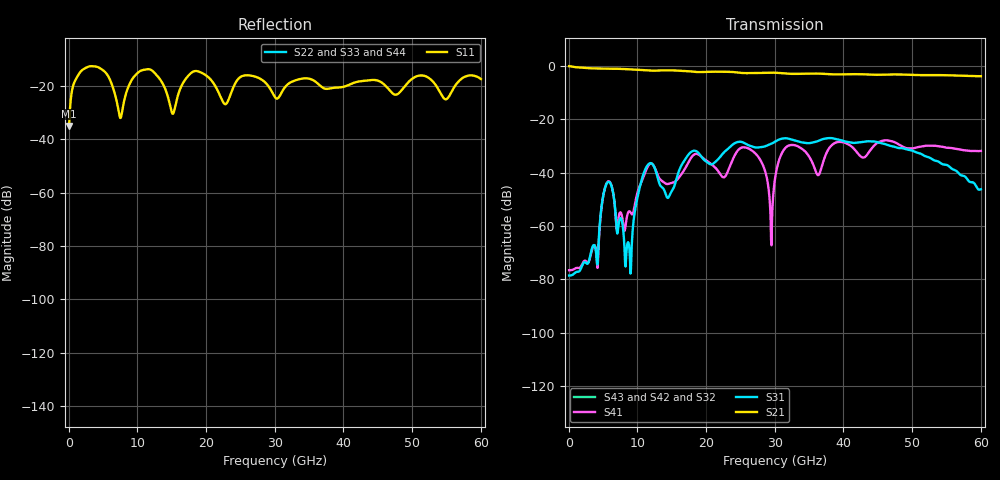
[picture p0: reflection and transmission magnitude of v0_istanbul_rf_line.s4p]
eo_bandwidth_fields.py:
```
"""EO response of line A (driven line) from the gap fields of the Istanbul crosstalk runs (a)-(d), 8.75 mm line.
H_A(f) = (1/L) * integral of the push-pull gap voltage * exp(j beta_o z) dz, beta_o = w n_g / c, n_g = 2.27
(xtalk_fields.eo_crosstalk_fields, I_A: the same integral as the EO crosstalk, on line A). Source and termination are
the CST ports of each run (50 ohm; run b: real far-end termination; run d: driver-trace waveguide port).
Normalisation: |H_A| / mean |H_A| over 3-10.7 GHz (one mismatch-ripple period, c / (2 n_m L) = 7.7 GHz),
and, for reference, / |H_A(1 GHz)|. 1 GHz of run c and 2, 15 GHz of runs a-c are corrupted exports and left out.
Check: run (a) fields vs the closed-form line formula with alpha, n_m, Zc extracted from the run (a) s4p (line A
two-port, 50/50 ohm). Outputs: eo_bandwidth_fields.png, eo_bandwidth_fields.csv, printed table."""
import os, sys
HERE = os.path.dirname(os.path.abspath(__file__)); X = os.path.join(HERE, "..")
sys.path.insert(0, os.path.join(X, "istanbul_run_a")); sys.path.insert(0, os.path.abspath(os.path.join(HERE, "../../../..")))
import numpy as np, skrf as rf, tempfile, matplotlib
matplotlib.use("Agg"); import matplotlib.pyplot as plt
from mzm_interconnect import parameters as P, xtalk_fields as XF
from mzm_interconnect.physics import eo_transfer
from mzm_interconnect.extractor import extract_line_fit
from load_fields import load
p = P.defaults(); p["Rt_R"] = 50.0; p["Zs_R"] = 50.0
LA, BAD = "e-field (f=1) [1]_lineA.zip", (2.0, 15.0)
RUNS = {"a": ("(a) bare line, 50 Ω ports", load(skip_f=BAD)),
        "b": ("(b) real far-end termination", load(base=os.path.join(X, "istanbul_run_b"), a_zip=LA, skip_f=BAD)),
        "c": ("(c) launch pads", load(base=os.path.join(X, "istanbul_run_c"), a_zip=LA, drop="first", skip_f=BAD + (1.0,))),
        "d": ("(d) full module (driver trace, wires, pads)", load(base=os.path.join(X, "istanbul_run_d"), a_zip=LA, drop="first"))}
REF = (3.0, 10.7)
def cross(f, y, lev=-3.0):
    k = np.where(y <= lev)[0]
    if not len(k): return None
    i = k[0]; return f[i - 1] + (lev - y[i - 1]) * (f[i] - f[i - 1]) / (y[i] - y[i - 1])
out = {}
for r, (lab, fd) in RUNS.items():
    o = XF.eo_crosstalk_fields(p, fd); f = o["f_GHz"]; h = abs(o["I_A"])
    ref = np.mean(h[(f >= REF[0]) & (f <= REF[1])]); out[r] = (f, 20 * np.log10(h / ref), 20 * np.log10(h / h[0]) if f[0] == 1 else None)
# check against the S-parameter route (run a)
n = rf.Network(os.path.join(X, "istanbul_run_a", "v0_istanbul_rf_line.s4p")).subnetwork([0, 1])
tmp = os.path.join(tempfile.mkdtemp(), "runa_A"); n.write_touchstone(tmp); fit = extract_line_fit(tmp + ".s2p", 8.75)
f = out["a"][0]; fr = fit.raw_f_GHz
H, _ = eo_transfer(f, np.interp(f, fr, fit.raw_alpha_dB_cm), np.interp(f, fr, fit.raw_nm),
                   np.interp(f, fr, fit.raw_Zc.real) + 1j * np.interp(f, fr, fit.raw_Zc.imag), 8.75e-3, 2.27, 50.0, 50.0)
Hf, _ = eo_transfer(f, fit.alpha_dB_cm(f), fit.nm(f), fit.Zc(f), 8.75e-3, 2.27, 50.0, 50.0)   # fitted (smooth) alpha, n_m, Zc
nd = lambda h: 20 * np.log10(abs(h) / np.mean(abs(h)[(f >= REF[0]) & (f <= REF[1])]))
yR, yM = nd(H), nd(Hf)
for lab, y in (("raw extracted", yR), ("fitted", yM)):
    d = out["a"][1] - y
    print(f"check run (a), fields - line formula ({lab} alpha, n_m, Zc): rms {np.sqrt(np.mean(d**2)):.2f}, max abs {abs(d).max():.2f} dB, "
          f"ripple correlation (1 GHz differences) {np.corrcoef(np.diff(out['a'][1]), np.diff(y))[0, 1]:+.2f}")
print("run | EO response at 20/40/60 GHz (dB, plateau ref) | -3 dB crossing: plateau ref | 1 GHz ref")
for r, (f, y, y1) in out.items():
    v = " ".join(f"{y[np.argmin(abs(f - q))]:+.2f}" for q in (20, 40, 60))
    c1 = cross(f, y1) if y1 is not None else None
    print(f" {r}  | {v} | {cross(f, y) or '> 60'} | {c1 if c1 else ('> 60' if y1 is not None else 'n/a (1 GHz corrupted)')}")
with open(os.path.join(HERE, "eo_bandwidth_fields.csv"), "w") as fh:
    fh.write("f_GHz," + ",".join(f"EO_run_{r}_dB" for r in out) + ",line_formula_run_a_dB\n")
    for i, q in enumerate(out["a"][0]):
        vals = [out[r][1][np.argmin(abs(out[r][0] - q))] if np.min(abs(out[r][0] - q)) < 1e-6 else np.nan for r in out]
        fh.write(f"{q:g}," + ",".join(f"{v:.3f}" for v in vals) + f",{yM[i]:.3f}\n")
C = {"a": "#eb6834", "b": "#2a78d6", "c": "#1baa7d", "d": "#7a4bd1"}
fig, ax = plt.subplots(figsize=(8.5, 4.8))
for r, (f, y, _) in out.items(): ax.plot(f, y, "o-", ms=3, lw=1.3, color=C[r], label=RUNS[r][0])
ax.plot(out["a"][0], yM, "k--", lw=1.2, label="(a) line formula with fitted α, n_m, Z_c from the s4p (check)")
ax.axhline(-3, color="0.4", lw=0.9, ls=":"); ax.set_xlim(0, 60); ax.set_ylim(-4, 1)
ax.set_xlabel("frequency (GHz)"); ax.set_ylabel("EO response, line A (dB)"); ax.grid(alpha=0.3); ax.legend(frameon=False, fontsize=8, loc="lower left")
ax.set_title("Istanbul 8.75 mm, EO response from the CST gap fields (n_g 2.27, push-pull; ref: mean 3–10.7 GHz)", fontsize=9.5)
fig.tight_layout(); fig.savefig(os.path.join(HERE, "eo_bandwidth_fields.png"), dpi=200)

# check figure: only run (a), fields vs line formula
fig, ax = plt.subplots(figsize=(8.5, 4.8))
ax.plot(out["a"][0], out["a"][1], "o-", ms=3.5, lw=1.4, color=C["a"], label="from the CST gap fields")
ax.plot(out["a"][0], yM, "k--", lw=1.6, label="from the touchstone (line formula with fitted α, n_m, Z_c)")
ax.axhline(-3, color="0.4", lw=0.9, ls=":"); ax.set_xlim(0, 60); ax.set_ylim(-4, 1)
ax.set_xlabel("frequency (GHz)"); ax.set_ylabel("EO response, line A (dB)"); ax.grid(alpha=0.3); ax.legend(frameon=False, fontsize=9, loc="lower left")
ax.set_title("Istanbul run (a), 8.75 mm bare line, 50 Ω ports: EO response, fields vs touchstone", fontsize=10)
fig.tight_layout(); fig.savefig(os.path.join(HERE, "eo_check_run_a.png"), dpi=200)
```
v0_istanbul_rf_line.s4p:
! TOUCHSTONE file generated by CST MICROWAVE STUDIO
! Date and time: Thu Nov  5 15:45:10 2026
! Project name: v0_istanbul_rf_line.cst
! Parameters = {LN_THICKNESS=0.000275; SILICON_THICKNESS=0.55}
! Header version: 2024
! Port assignment regex: !\s*Touchstone port\s*([0-9]+)\s*=\s*(CST MWS port|CST DES external port|CST DES block port)\s*(.+)\s* \(\"(.*)\"\)(\s*mode\s*([0-9]+))?.*
! Touchstone port assignment:
! Touchstone port 1 = CST MWS port 1 ("")
! Touchstone port 2 = CST MWS port 2 ("")
! Touchstone port 3 = CST MWS port 3 ("")
! Touchstone port 4 = CST MWS port 4 ("")
# GHz S MA R 50
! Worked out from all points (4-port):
!   1000 points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, 60 MHz to 60 GHz, reference 50 ohm
!   strongest paths, dB at 60 MHz, 15.06 GHz, 30.06 GHz, 45.06 GHz, 60 GHz:
!     S21: -0.1, -1.7, -2.6, -3.4, -3.9
!     S31: -78.5, -46.7, -28.4, -28.7, -46.2
!     S41: -76.5, -43.8, -41.8, -28.6, -31.9
!     S43: -, -, -, -, -
!     S42: -, -, -, -, -
!     S32: -, -, -, -, -
!   lowest |S11| = -35.0 dB at 60 MHz (marker M1), VSWR 1.04, Z = 51.4 + j1.06 ohm
!   |S11| at or under -10 dB: start of sweep to end of sweep
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0.06  0.01769 35.6  0 0.0  0 0.0  0 0.0
      0.9858 -1.8  0 0.0  0 0.0  0 0.0
      0.0001184 158.7  0 0.0  0 0.0  0 0.0
      0.0001491 -20.8  0 0.0  0 0.0  0 0.0
18.18  0.1852 0.8  0 0.0  0 0.0  0 0.0
       0.7761 -71.4  0 0.0  0 0.0  0 0.0
       0.02569 -168.8  0 0.0  0 0.0  0 0.0
       0.02146 2.2  0 0.0  0 0.0  0 0.0
60  0.1334 -44.2  0 0.0  0 0.0  0 0.0
    0.6401 35.9  0 0.0  0 0.0  0 0.0
    0.004881 131.0  0 0.0  0 0.0  0 0.0
    0.02552 -43.7  0 0.0  0 0.0  0 0.0
